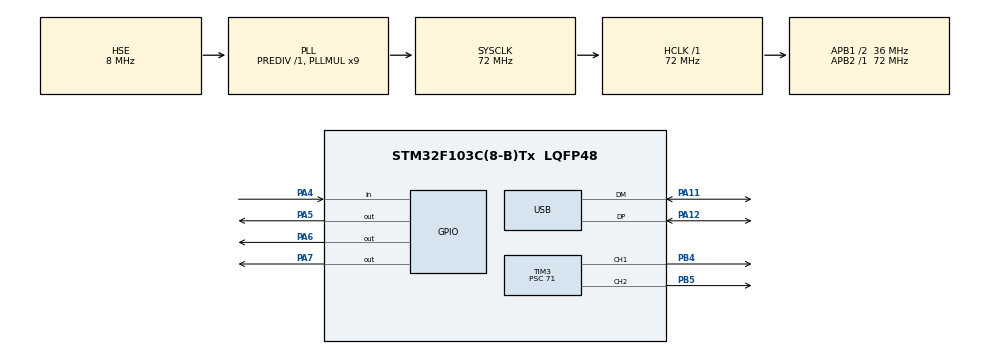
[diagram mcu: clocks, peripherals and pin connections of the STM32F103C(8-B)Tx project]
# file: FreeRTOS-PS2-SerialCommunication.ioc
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FREERTOS.Tasks01=defaultTask,24,128,StartDefaultTask,Default,NULL,Dynamic,NULL,NULL
Mcu.Family=STM32F1
Mcu.Name=STM32F103C(8-B)Tx
Mcu.Package=LQFP48
NVIC.PriorityGroup=NVIC_PRIORITYGROUP_4
NVIC.TIM4_IRQn=true\:15\:0\:false\:false\:true\:false\:false\:true\:true
NVIC.TimeBase=TIM4_IRQn
NVIC.TimeBaseIP=TIM4
NVIC.USB_LP_CAN1_RX0_IRQn=true\:5\:0\:false\:false\:true\:true\:false\:true\:true
PA11.Mode=Device
PA11.Signal=USB_DM
PA12.Mode=Device
PA12.Signal=USB_DP
PA13.Mode=Serial_Wire
PA13.Signal=SYS_JTMS-SWDIO
PA14.Mode=Serial_Wire
PA14.Signal=SYS_JTCK-SWCLK
PA4.GPIO_PuPd=GPIO_PULLUP
PA4.Signal=GPIO_Input
PA5.GPIO_Speed=GPIO_SPEED_FREQ_HIGH
PA5.Signal=GPIO_Output
PA6.GPIO_Speed=GPIO_SPEED_FREQ_HIGH
PA6.Signal=GPIO_Output
PA7.GPIO_Speed=GPIO_SPEED_FREQ_HIGH
PA7.Signal=GPIO_Output
PB4.Signal=S_TIM3_CH1
PB5.Signal=S_TIM3_CH2
PD0-OSC_IN.Mode=HSE-External-Oscillator
PD0-OSC_IN.Signal=RCC_OSC_IN
PD1-OSC_OUT.Mode=HSE-External-Oscillator
PD1-OSC_OUT.Signal=RCC_OSC_OUT
ProjectManager.HeapSize=0x200
ProjectManager.StackSize=0x400
ProjectManager.TargetToolchain=Makefile
RCC.AHBFreq_Value=72000000
RCC.APB1CLKDivider=RCC_HCLK_DIV2
RCC.APB1Freq_Value=36000000
RCC.APB1TimFreq_Value=72000000
RCC.APB2Freq_Value=72000000
RCC.APB2TimFreq_Value=72000000
RCC.HCLKFreq_Value=72000000
RCC.PLLMUL=RCC_PLL_MUL9
RCC.SYSCLKFreq_VALUE=72000000
RCC.SYSCLKSource=RCC_SYSCLKSOURCE_PLLCLK
RCC.USBFreq_Value=48000000
RCC.USBPrescaler=RCC_USBCLKSOURCE_PLL_DIV1_5
SH.S_TIM3_CH1.0=TIM3_CH1,PWM Generation1 CH1
SH.S_TIM3_CH2.0=TIM3_CH2,PWM Generation2 CH2
TIM3.Channel-PWM\ Generation1\ CH1=TIM_CHANNEL_1
TIM3.Channel-PWM\ Generation2\ CH2=TIM_CHANNEL_2
TIM3.Period=1999
TIM3.Prescaler=71
USB_DEVICE.CLASS_NAME_FS=CDC
USB_DEVICE.VirtualMode=Cdc
USB_DEVICE.VirtualModeFS=Cdc_FS
VP_FREERTOS_VS_CMSIS_V2.Mode=CMSIS_V2
VP_SYS_VS_tim4.Mode=TIM4
VP_USB_DEVICE_VS_USB_DEVICE_CDC_FS.Mode=CDC_FS
board=custom

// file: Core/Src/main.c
/* USER CODE BEGIN Header */
/**
 ******************************************************************************
 * @file           : main.c
 * @brief          : Main program body
 ******************************************************************************
 * @attention
 *
 * Copyright (c) 2025 STMicroelectronics.
 * All rights reserved.
 *
 * This software is licensed under terms that can be found in the LICENSE file
 * in the root directory of this software component.
 * If no LICENSE file comes with this software, it is provided AS-IS.
 *
 ******************************************************************************
 */
/* USER CODE END Header */
#include "main.h"
#include "cmsis_os.h"
#include "tim.h"
#include "usb_device.h"
#include "gpio.h"

/* USER CODE BEGIN Includes */
#include "ax_ps2.h"
/* USER CODE END Includes */

void SystemClock_Config(void);
void MX_FREERTOS_Init(void);

/* USER CODE BEGIN 0 */
JOYSTICK_TypeDef ps2;
/* USER CODE END 0 */

int main(void)
{

    /* MCU Configuration--------------------------------------------------------*/

    /* Reset of all peripherals, Initializes the Flash interface and the Systick. */
    HAL_Init();

    /* USER CODE BEGIN Init */
    AX_PS2_Init();
    /* USER CODE END Init */

    /* Configure the system clock */
    SystemClock_Config();

    /* Initialize all configured peripherals */
    MX_GPIO_Init();
    MX_TIM3_Init();
    /* USER CODE BEGIN 2 */
    MX_USB_DEVICE_Init(); // 初始化 USB CDC
    HAL_TIM_PWM_Start(&htim3, TIM_CHANNEL_1);
    HAL_TIM_PWM_Start(&htim3, TIM_CHANNEL_2);
    /* USER CODE END 2 */

    /* Init scheduler */
    osKernelInitialize(); /* Call init function for freertos objects (in cmsis_os2.c) */
    MX_FREERTOS_Init();

    /* Start scheduler */
    osKernelStart();

    /* We should never get here as control is now taken by the scheduler */

    /* Infinite loop */
    /* USER CODE BEGIN WHILE */
    while (1) {
        AX_PS2_ScanKey(&ps2);
        HAL_Delay(10);
        /* USER CODE END WHILE */

    }
}

void SystemClock_Config(void)
{
    RCC_OscInitTypeDef RCC_OscInitStruct   = {0};
    RCC_ClkInitTypeDef RCC_ClkInitStruct   = {0};
    RCC_PeriphCLKInitTypeDef PeriphClkInit = {0};

    /** Initializes the RCC Oscillators according to the specified parameters
     * in the RCC_OscInitTypeDef structure.
     */
    RCC_OscInitStruct.OscillatorType = RCC_OSCILLATORTYPE_HSE;
    RCC_OscInitStruct.HSEState       = RCC_HSE_ON;
    RCC_OscInitStruct.HSEPredivValue = RCC_HSE_PREDIV_DIV1;
    RCC_OscInitStruct.HSIState       = RCC_HSI_ON;
    RCC_OscInitStruct.PLL.PLLState   = RCC_PLL_ON;
    RCC_OscInitStruct.PLL.PLLSource  = RCC_PLLSOURCE_HSE;
    RCC_OscInitStruct.PLL.PLLMUL     = RCC_PLL_MUL9;
    if (HAL_RCC_OscConfig(&RCC_OscInitStruct) != HAL_OK) {
        Error_Handler();
    }

    /** Initializes the CPU, AHB and APB buses clocks
     */
    RCC_ClkInitStruct.ClockType      = RCC_CLOCKTYPE_HCLK | RCC_CLOCKTYPE_SYSCLK | RCC_CLOCKTYPE_PCLK1 | RCC_CLOCKTYPE_PCLK2;
    RCC_ClkInitStruct.SYSCLKSource   = RCC_SYSCLKSOURCE_PLLCLK;
    RCC_ClkInitStruct.AHBCLKDivider  = RCC_SYSCLK_DIV1;
    RCC_ClkInitStruct.APB1CLKDivider = RCC_HCLK_DIV2;
    RCC_ClkInitStruct.APB2CLKDivider = RCC_HCLK_DIV1;

    if (HAL_RCC_ClockConfig(&RCC_ClkInitStruct, FLASH_LATENCY_2) != HAL_OK) {
        Error_Handler();
    }
    PeriphClkInit.PeriphClockSelection = RCC_PERIPHCLK_USB;
    PeriphClkInit.UsbClockSelection    = RCC_USBCLKSOURCE_PLL_DIV1_5;
    if (HAL_RCCEx_PeriphCLKConfig(&PeriphClkInit) != HAL_OK) {
        Error_Handler();
    }
}

void HAL_TIM_PeriodElapsedCallback(TIM_HandleTypeDef *htim)
{
    if (htim->Instance == TIM4) {
        HAL_IncTick();
    }
}

void Error_Handler(void)
{
    __disable_irq();
    while (1) {
    }
}

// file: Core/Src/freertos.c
/* USER CODE BEGIN Header */
/**
 ******************************************************************************
 * File Name          : freertos.c
 * Description        : Code for freertos applications
 ******************************************************************************
 * @attention
 *
 * Copyright (c) 2025 STMicroelectronics.
 * All rights reserved.
 *
 * This software is licensed under terms that can be found in the LICENSE file
 * in the root directory of this software component.
 * If no LICENSE file comes with this software, it is provided AS-IS.
 *
 ******************************************************************************
 */
/* USER CODE END Header */

#include "FreeRTOS.h"
#include "task.h"
#include "main.h"
#include "cmsis_os.h"

/* USER CODE BEGIN Includes */
#include "queue.h"
#include "ax_ps2.h"
#include "usb_device.h"
#include "usbd_cdc_if.h"
#include "tim.h"
/* USER CODE END Includes */

/* USER CODE BEGIN Variables */
QueueHandle_t ps2QueueHandle;
/* USER CODE END Variables */
/* Definitions for defaultTask */
osThreadId_t defaultTaskHandle;
const osThreadAttr_t defaultTask_attributes = {
    .name       = "defaultTask",
    .stack_size = 128 * 4,
    .priority   = (osPriority_t)osPriorityNormal,
};

/* USER CODE BEGIN FunctionPrototypes */
void StartPs2Task(void *argument);
void StartCdcTask(void *argument);
void StartPs2Task(void *argument);
void StartCdcTask(void *argument);
void Motor_SetSpeed(int16_t speed);
/* USER CODE END FunctionPrototypes */

void StartDefaultTask(void *argument);

extern void MX_USB_DEVICE_Init(void);
void MX_FREERTOS_Init(void); /* (MISRA C 2004 rule 8.1) */

void MX_FREERTOS_Init(void)
{

    /* USER CODE BEGIN RTOS_QUEUES */
    /* add queues, ... */
    ps2QueueHandle = xQueueCreate(8, sizeof(JOYSTICK_TypeDef));
    /* USER CODE END RTOS_QUEUES */

    /* Create the thread(s) */
    /* creation of defaultTask */
    defaultTaskHandle = osThreadNew(StartDefaultTask, NULL, &defaultTask_attributes);

    /* USER CODE BEGIN RTOS_THREADS */
    /* add threads, ... */
    // 任务句柄
    osThreadId_t ps2TaskHandle;
    osThreadId_t cdcTaskHandle;

    // 属性
    const osThreadAttr_t ps2Task_attributes = {
        .name       = "ps2Task",
        .stack_size = 256 * 4,
        .priority   = (osPriority_t)osPriorityHigh,
    };
    const osThreadAttr_t cdcTask_attributes = {
        .name       = "cdcTask",
        .stack_size = 256 * 4,
        .priority   = (osPriority_t)osPriorityNormal,
    };

    // 创建任务
    ps2TaskHandle = osThreadNew(StartPs2Task, NULL, &ps2Task_attributes);
    cdcTaskHandle = osThreadNew(StartCdcTask, NULL, &cdcTask_attributes);
    /* USER CODE END RTOS_THREADS */

}

void StartDefaultTask(void *argument)
{
    /* init code for USB_DEVICE */
    MX_USB_DEVICE_Init();
    for (;;) {
        osDelay(1);
    }
}

/* USER CODE BEGIN Application */
void StartPs2Task(void *argument)
{
    JOYSTICK_TypeDef js;
    AX_PS2_Init();
    for (;;) {
        AX_PS2_ScanKey(&js);
        xQueueSend(ps2QueueHandle, &js, 0);
        osDelay(20); // 20ms 周期
    }
}
void StartCdcTask(void *argument)
{
    JOYSTICK_TypeDef js;
    char buf[128];
    for (;;) {
        if (xQueueReceive(ps2QueueHandle, &js, portMAX_DELAY) == pdPASS) {
            // 1. 计算速度
            int16_t speed = 0;
            if (js.LJoy_UD < 100) {
                speed = (100 - js.LJoy_UD) * 10; // 前进
            } else if (js.LJoy_UD > 150) {
                speed = -(js.LJoy_UD - 150) * 10; // 后退
            } else {
                speed = 0; // 停止
            }

            // 限幅到 -999 ~ +999
            if (speed > 999) speed = 999;
            if (speed < -999) speed = -999;

            // 2. 设置电机
            Motor_SetSpeed(speed);

            // 3. 发送到 PC
            int len = snprintf(buf, sizeof(buf),
                               "LY=%02X speed=%d\r\n", js.LJoy_UD, speed);
            CDC_Transmit_FS((uint8_t *)buf, len);
        }
    }
}

extern TIM_HandleTypeDef htim3;
void Motor_SetSpeed(int16_t speed)
{
    // speed 范围：-999 ~ +999
    if (speed > 0) {
        __HAL_TIM_SET_COMPARE(&htim3, TIM_CHANNEL_1, speed);
        __HAL_TIM_SET_COMPARE(&htim3, TIM_CHANNEL_2, 0);
    } else if (speed < 0) {
        __HAL_TIM_SET_COMPARE(&htim3, TIM_CHANNEL_1, 0);
        __HAL_TIM_SET_COMPARE(&htim3, TIM_CHANNEL_2, -speed);
    } else {
        __HAL_TIM_SET_COMPARE(&htim3, TIM_CHANNEL_1, 0);
        __HAL_TIM_SET_COMPARE(&htim3, TIM_CHANNEL_2, 0);
    }
}
/* USER CODE END Application */
